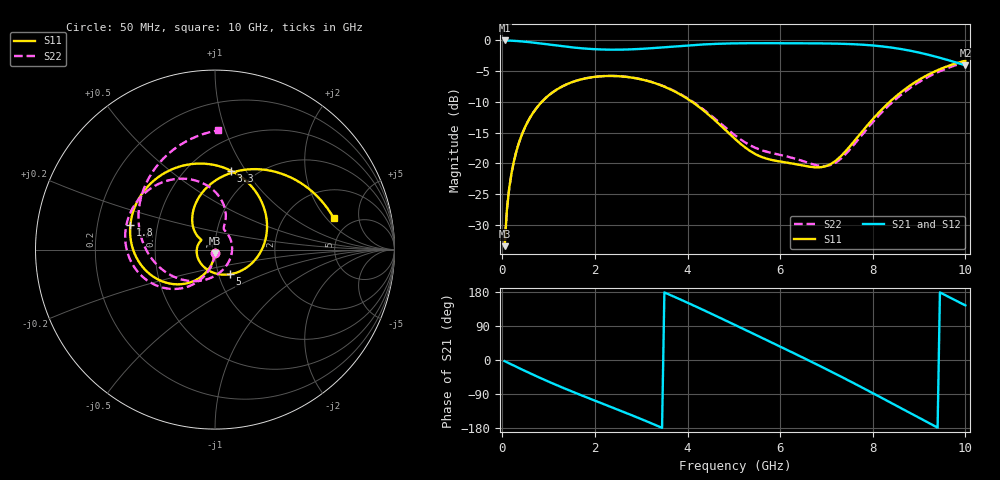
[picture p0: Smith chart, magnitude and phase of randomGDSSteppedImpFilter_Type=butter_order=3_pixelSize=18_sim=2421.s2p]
! freq	dB(S11)	phase(S11)	dB(S12)	phase(S12)
!  dB(S21)	phase(S21)	dB(S22)	phase(S22)
!S-par simulation data
#  GHz  S  DB  R 50
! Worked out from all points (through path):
!   200 points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, 50 MHz to 10 GHz, reference 50 ohm
!   highest |S21| = -0.01 dB at 50 MHz (marker M1); lowest = -4.1 dB at 10 GHz (marker M2)
!   group delay of S21, straight-line fit = 159 ps
!   lowest |S11| = -33.5 dB at 50 MHz (marker M3), VSWR 1.04, Z = 49.8 - j2.11 ohm
!   |S11| at or under -10 dB: start of sweep to 852.3 MHz; 4.098 GHz to 8.366 GHz (4.267 GHz wide, 68.5 % of centre)
!   |S22| runs from -33.5 to -3.6 dB; largest |S21 - S12| = 0
!   S11 on the Smith chart (normalised r, x): 50 MHz: 1.00, -0.04; 1.8 GHz: 0.35, +0.13; 3.3 GHz: 0.78, +0.86; 5 GHz: 1.14, -0.32; 10 GHz: 3.65, +2.41
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0.05  -33.47 -93.1  -0.01 -3.0  -0.01 -3.0  -33.46 -92.7
0.1  -27.48 -96.4  -0.02 -6.0  -0.02 -6.0  -27.48 -95.6
0.2  -21.57 -103.0  -0.05 -11.9  -0.05 -11.9  -21.56 -101.4
0.5  -13.98 -122.1  -0.22 -29.4  -0.22 -29.4  -13.97 -117.9
1.1  -8.38 -157.7  -0.76 -62.4  -0.76 -62.4  -8.37 -148.2
1.75  -6.25 166.3  -1.30 -95.2  -1.30 -95.2  -6.25 -177.7
1.8  -6.17 163.5  -1.33 -97.6  -1.33 -97.6  -6.16 -179.8
2.6  -5.87 119.9  -1.50 -136.2  -1.50 -136.2  -5.86 147.0
3.3  -6.96 78.6  -1.23 -171.2  -1.23 -171.2  -6.94 119.0
3.4  -7.23 72.2  -1.17 -176.4  -1.17 -176.4  -7.20 115.1
4.15  -10.27 19.5  -0.74 142.8  -0.74 142.8  -10.17 87.8
5  -15.85 -58.4  -0.48 93.9  -0.48 93.9  -15.28 70.2
5.05  -16.19 -63.8  -0.48 91.0  -0.48 91.0  -15.58 69.9
5.5  -18.63 -116.2  -0.45 64.8  -0.45 64.8  -17.58 68.4
6  -19.70 -169.3  -0.46 35.5  -0.46 35.5  -18.62 60.1
6.7  -20.61 148.4  -0.48 -6.2  -0.48 -6.2  -20.13 18.3
7.15  -19.84 143.9  -0.52 -33.6  -0.52 -33.6  -20.07 -33.5
7.6  -16.38 138.4  -0.62 -61.8  -0.62 -61.8  -16.89 -88.0
8  -12.81 123.3  -0.82 -87.4  -0.82 -87.4  -13.29 -125.7
8.35  -10.11 105.5  -1.11 -110.2  -1.11 -110.2  -10.55 -153.8
9.15  -5.76 60.1  -2.24 -162.4  -2.24 -162.4  -6.12 147.8
10  -3.30 14.9  -4.05 144.2  -4.05 144.2  -3.56 88.7
